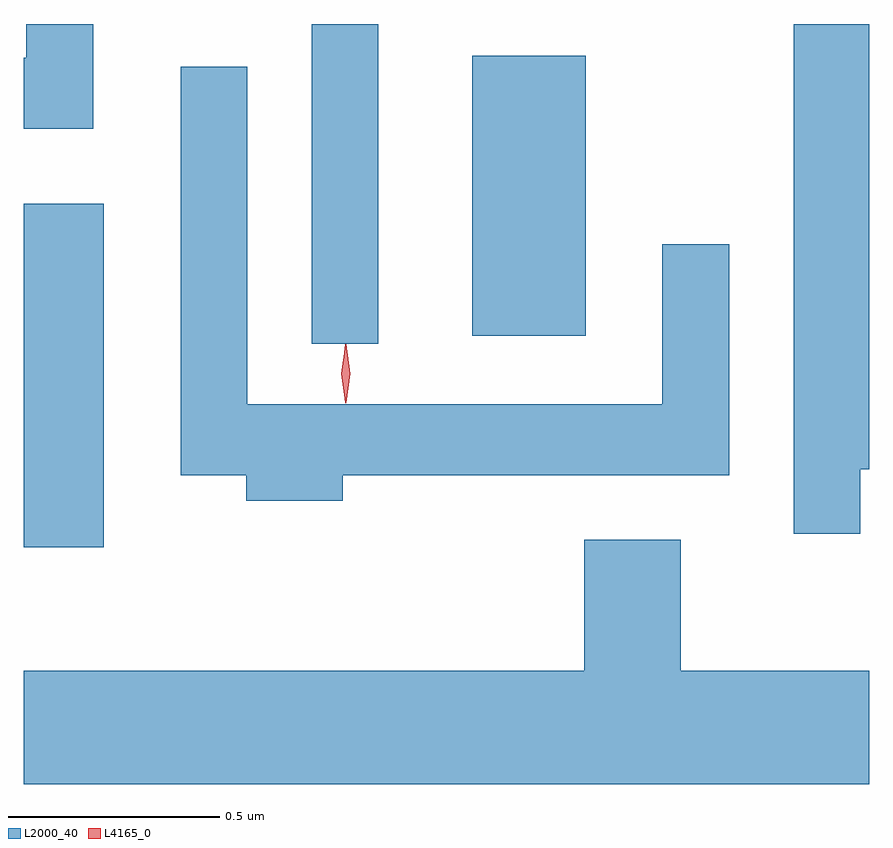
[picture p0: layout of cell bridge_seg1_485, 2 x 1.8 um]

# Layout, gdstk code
import gdstk
lib = gdstk.Library(unit=1e-6, precision=1e-09)
def R(c, l, rs):  # rectangles x0, y0, x1, y1
    for r in rs: c.add(gdstk.rectangle(r[:2], r[2:], *l))
def P(c, l, *ps):  # polygons
    for p in ps: c.add(gdstk.Polygon(p, *l))
L2000_40 = (2000, 40)
L4165_0 = (4165, 0)

bridge_seg1_485 = lib.new_cell('bridge_seg1_485')
R(bridge_seg1_485, L2000_40, [(365.155,860.176,365.344,860.989), (365.836,860.658,365.994,861.414), (366.216,860.676,366.484,861.339)])
P(bridge_seg1_485, L2000_40, [(367.134,860.361),(367.155,860.361),(367.155,861.414),(366.976,861.414),(366.976,860.208),(367.134,860.208)],
  [(365.319,861.414),(365.161,861.414),(365.161,861.334),(365.155,861.334),(365.155,861.166),(365.319,861.166)],
  [(365.909,860.346),(366.824,860.346),(366.824,860.893),(366.666,860.893),(366.666,860.514),(365.684,860.514),(365.684,861.313),(365.526,861.313),(365.526,860.346),(365.681,860.346),(365.681,860.286),(365.909,860.286)],
  [(367.155,859.884),(366.709,859.884),(366.709,860.194),(366.481,860.194),(366.481,859.884),(365.155,859.884),(365.155,859.616),(367.155,859.616)])
P(bridge_seg1_485, L4165_0, [(365.917,860.517),(365.916,860.518),(365.907,860.587),(365.916,860.656),(365.917,860.656),(365.918,860.656),(365.927,860.587),(365.918,860.518)],
  [(365.916,860.519),(365.916,860.52),(365.906,860.586),(365.916,860.652),(365.916,860.653),(365.917,860.652),(365.926,860.586),(365.917,860.52)])

lib.write_gds('bridge_seg1_485.gds')
